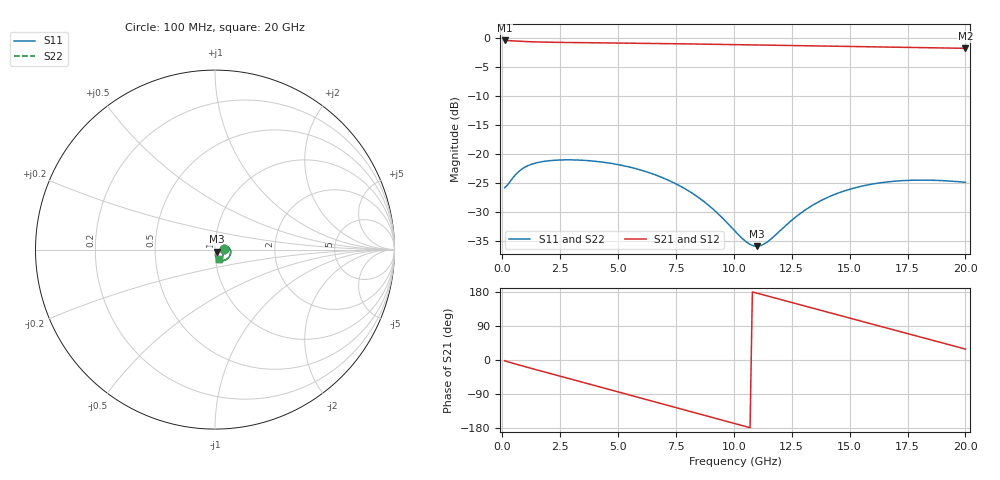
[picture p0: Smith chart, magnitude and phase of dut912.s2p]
! Touchstone file exported from HFSS 2026.1.0
!  File:  C:/ffzhzh/LocalFiles/Ansys_Project_Files/temp_train_TSV_RDL_912_1783278130_38704.aedt
!  Generated:  03:10:32 AM Jul  6, 2026
!  Design:  TSV_RDL
!  Project:  temp_train_TSV_RDL_912_1783278130_38704
! Variables:
!  h_bsmrdl = 2.28um
!  h_ox = 20um
!  h_rdl = 5um
!  h_sub = 51.47um
!  h_tmrdl = 2.23um
!  h_tsv = 51.47um
!  h_via = 3um
!  l_bsmrdl = 580.73um
!  l_sub = 5752.81um
!  l_tmrdl = 879.54um
!  m_sub = 200um
!  pitch = 19.5um
!  r_tsv = 8.02um
!  s_tmrdl = 10um
!  w_bsmrdl = 13.92um
!  w_sub = 500um
!  w_tmrdl = 16.9um
!  x_tsv_center1 = 887.99um
!  x_tsv_center2 = 1482.64um
!  x_tsv_center3 = 2379.08um
!  x_tsv_center4 = 2973.73um
!  x_tsv_center5 = 3870.17um
!  x_tsv_center6 = 4464.82um
# GHz S MA R 50.000000
! Terminal data exported
! Port[1] = TM_RDL1_1_T1
! Port[2] = TM_RDL5_1_T1
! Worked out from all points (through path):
!   200 points, 100 MHz to 20 GHz, reference 50 ohm
!   highest |S21| = -0.46 dB at 100 MHz (marker M1); lowest = -1.8 dB at 20 GHz (marker M2)
!   group delay of S21, straight-line fit = 45.9 ps
!   lowest |S11| = -35.8 dB at 11 GHz (marker M3), VSWR 1.03, Z = 51.1 - j1.22 ohm
!   |S11| at or under -10 dB: start of sweep to end of sweep
!   |S22| runs from -35.9 to -21.0 dB; largest |S21 - S12| = 8.7e-13
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0.1  0.05145 4.7  0.9489 -1.9  0.9489 -1.9  0.05145 4.7
! Gamma 0 0 0 0
! Port Impedance 50 0 50 0
0.7  0.07068 11.5  0.9352 -12.8  0.9352 -12.8  0.07053 11.6
1.2  0.08112 4.4  0.9252 -21.3  0.9252 -21.3  0.08107 4.5
2.3  0.08876 -11.2  0.9143 -39.4  0.9143 -39.4  0.0888 -11.2
3.5  0.08859 -26.6  0.908 -59.3  0.908 -59.3  0.08865 -26.6
4.4  0.08508 -37.7  0.9041 -74.2  0.9041 -74.2  0.08515 -37.8
5.2  0.07987 -47.5  0.9005 -87.5  0.9005 -87.5  0.07994 -47.6
6  0.07286 -57.0  0.8968 -100.8  0.8968 -100.8  0.07292 -57.1
6.8  0.06424 -66.1  0.8928 -114.1  0.8928 -114.1  0.06429 -66.2
8.5  0.04207 -81.4  0.8834 -142.3  0.8834 -142.3  0.04206 -81.7
9.3  0.03104 -83.6  0.8786 -155.5  0.8786 -155.5  0.03097 -84.0
10.1  0.0213 -76.6  0.8736 -168.8  0.8736 -168.8  0.02117 -77.0
10.6  0.01726 -63.2  0.8704 -177.0  0.8704 -177.0  0.0171 -63.4
11  0.0162 -47.6  0.8679 176.4  0.8679 176.4  0.01604 -47.5
11.4  0.01736 -32.7  0.8653 169.8  0.8653 169.8  0.01724 -32.4
12.2  0.02397 -16.9  0.8601 156.6  0.8601 156.6  0.02394 -16.5
13.4  0.03639 -16.1  0.8524 136.9  0.8524 136.9  0.03649 -15.9
15.1  0.0506 -28.5  0.8416 109.0  0.8416 109.0  0.05082 -28.5
15.9  0.05503 -35.6  0.8366 95.9  0.8366 95.9  0.0553 -35.6
16.7  0.05798 -42.7  0.8317 82.8  0.8317 82.8  0.05827 -42.8
18.3  0.05986 -55.9  0.8221 56.6  0.8221 56.6  0.06017 -56.2
20  0.05729 -67.3  0.8122 28.8  0.8122 28.8  0.05752 -67.8
